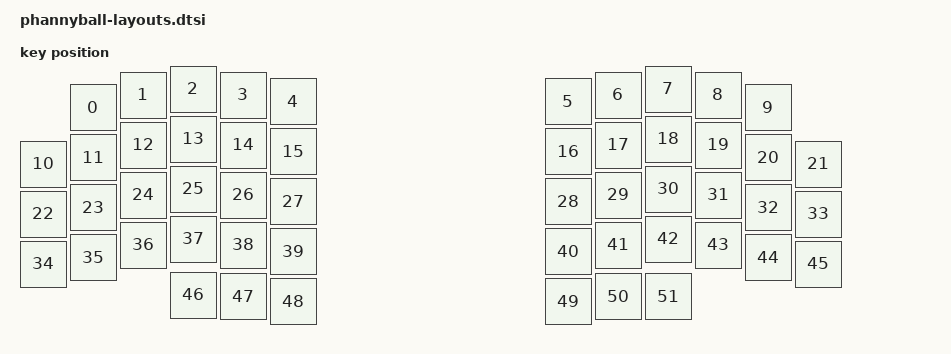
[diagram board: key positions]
#include <physical_layouts.dtsi>

/ {
    physical_layout_phannyball: physical_layout_phannyball {
        compatible = "zmk,physical-layout";
        display-name = "PhannyBall";
        keys  //                     w   h    x    y     rot    rx    ry
            = <&key_physical_attrs 100 100  100   37       0   100    37>
            , <&key_physical_attrs 100 100  200   12       0   200    12>
            , <&key_physical_attrs 100 100  300    0       0   300     0>
            , <&key_physical_attrs 100 100  400   12       0   400    12>
            , <&key_physical_attrs 100 100  500   25       0   500    25>
            , <&key_physical_attrs 100 100 1050   25       0  1050    25>
            , <&key_physical_attrs 100 100 1150   12       0  1150    12>
            , <&key_physical_attrs 100 100 1250    0       0  1250     0>
            , <&key_physical_attrs 100 100 1350   12       0  1350    12>
            , <&key_physical_attrs 100 100 1450   37       0  1450    37>
            , <&key_physical_attrs 100 100    0  150       0     0   150>
            , <&key_physical_attrs 100 100  100  137       0   100   137>
            , <&key_physical_attrs 100 100  200  112       0   200   112>
            , <&key_physical_attrs 100 100  300  100       0   300   100>
            , <&key_physical_attrs 100 100  400  112       0   400   112>
            , <&key_physical_attrs 100 100  500  125       0   500   125>
            , <&key_physical_attrs 100 100 1050  125       0  1050   125>
            , <&key_physical_attrs 100 100 1150  112       0  1150   112>
            , <&key_physical_attrs 100 100 1250  100       0  1250   100>
            , <&key_physical_attrs 100 100 1350  112       0  1350   112>
            , <&key_physical_attrs 100 100 1450  137       0  1450   137>
            , <&key_physical_attrs 100 100 1550  150       0  1550   150>
            , <&key_physical_attrs 100 100    0  250       0     0   250>
            , <&key_physical_attrs 100 100  100  237       0   100   237>
            , <&key_physical_attrs 100 100  200  212       0   200   212>
            , <&key_physical_attrs 100 100  300  200       0   300   200>
            , <&key_physical_attrs 100 100  400  212       0   400   212>
            , <&key_physical_attrs 100 100  500  225       0   500   225>
            , <&key_physical_attrs 100 100 1050  225       0  1050   225>
            , <&key_physical_attrs 100 100 1150  212       0  1150   212>
            , <&key_physical_attrs 100 100 1250  200       0  1250   200>
            , <&key_physical_attrs 100 100 1350  212       0  1350   212>
            , <&key_physical_attrs 100 100 1450  237       0  1450   237>
            , <&key_physical_attrs 100 100 1550  250       0  1550   250>
            , <&key_physical_attrs 100 100    0  350       0     0   350>
            , <&key_physical_attrs 100 100  100  337       0   100   337>
            , <&key_physical_attrs 100 100  200  312       0   200   312>
            , <&key_physical_attrs 100 100  300  300       0   300   300>
            , <&key_physical_attrs 100 100  400  312       0   400   312>
            , <&key_physical_attrs 100 100  500  325       0   500   325>
            , <&key_physical_attrs 100 100 1050  325       0  1050   325>
            , <&key_physical_attrs 100 100 1150  312       0  1150   312>
            , <&key_physical_attrs 100 100 1250  300       0  1250   300>
            , <&key_physical_attrs 100 100 1350  312       0  1350   312>
            , <&key_physical_attrs 100 100 1450  337       0  1450   337>
            , <&key_physical_attrs 100 100 1550  350       0  1550   350>
            , <&key_physical_attrs 100 100  300  412       0   300   412>
            , <&key_physical_attrs 100 100  400  415       0   400   415>
            , <&key_physical_attrs 100 100  500  425       0   500   425>
            , <&key_physical_attrs 100 100 1050  425       0  1050   425>
            , <&key_physical_attrs 100 100 1150  415       0  1150   415>
            , <&key_physical_attrs 100 100 1250  415       0  1250   415>
            ;
    };
};
